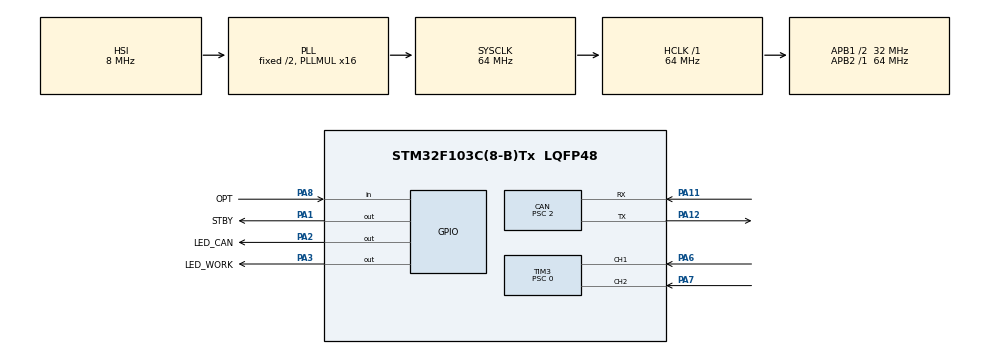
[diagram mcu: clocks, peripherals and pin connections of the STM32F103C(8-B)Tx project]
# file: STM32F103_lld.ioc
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CAN.BS1=CAN_BS1_11TQ
CAN.BS2=CAN_BS2_4TQ
CAN.CalculateBaudRate=1000000
CAN.CalculateTimeBit=1000
CAN.CalculateTimeQuantum=62.5
CAN.Prescaler=2
CAN.TXFP=ENABLE
FREERTOS.Tasks01=task_can_handle,40,256,start_task_can_handler,Default,NULL,Dynamic,NULL,NULL;task_dispatcher,24,256,start_task_dispatcher,Default,NULL,Dynamic,NULL,NULL;task_lld_contro,24,384,start_task_lld_controller,Default,NULL,Dynamic,NULL,NULL;task_watchdog,24,128,start_task_watchdog,Default,NULL,Dynamic,NULL,NULL
FREERTOS.configTOTAL_HEAP_SIZE=8192
IWDG.Prescaler=IWDG_PRESCALER_256
IWDG.Reload=624
Mcu.Family=STM32F1
Mcu.Name=STM32F103C(8-B)Tx
Mcu.Package=LQFP48
NVIC.CAN1_RX1_IRQn=true\:5\:0\:false\:false\:true\:true\:true\:true\:true
NVIC.CAN1_SCE_IRQn=true\:5\:0\:false\:false\:true\:true\:true\:true\:true
NVIC.PriorityGroup=NVIC_PRIORITYGROUP_4
NVIC.TIM3_IRQn=true\:5\:0\:false\:false\:true\:true\:true\:true\:true
NVIC.TIM4_IRQn=true\:15\:0\:false\:false\:true\:false\:false\:true\:true
NVIC.TimeBase=TIM4_IRQn
NVIC.TimeBaseIP=TIM4
NVIC.USB_HP_CAN1_TX_IRQn=true\:5\:0\:false\:false\:true\:true\:true\:true\:true
NVIC.USB_LP_CAN1_RX0_IRQn=true\:5\:0\:false\:false\:true\:true\:true\:true\:true
PA1.GPIO_Label=STBY
PA1.Signal=GPIO_Output
PA11.Mode=CAN_Activate
PA11.Signal=CAN_RX
PA12.Mode=CAN_Activate
PA12.Signal=CAN_TX
PA13.Mode=Serial_Wire
PA13.Signal=SYS_JTMS-SWDIO
PA14.Mode=Serial_Wire
PA14.Signal=SYS_JTCK-SWCLK
PA2.GPIO_Label=LED_CAN
PA2.Signal=GPIO_Output
PA3.GPIO_Label=LED_WORK
PA3.Signal=GPIO_Output
PA6.Signal=S_TIM3_CH1
PA7.Signal=S_TIM3_CH2
PA8.GPIO_Label=OPT
PA8.GPIO_PuPd=GPIO_PULLUP
PA8.Signal=GPIO_Input
ProjectManager.HeapSize=0x200
ProjectManager.StackSize=0x400
ProjectManager.TargetToolchain=STM32CubeIDE
RCC.AHBFreq_Value=64000000
RCC.APB1CLKDivider=RCC_HCLK_DIV2
RCC.APB1Freq_Value=32000000
RCC.APB1TimFreq_Value=64000000
RCC.APB2Freq_Value=64000000
RCC.APB2TimFreq_Value=64000000
RCC.HCLKFreq_Value=64000000
RCC.PLLMUL=RCC_PLL_MUL16
RCC.SYSCLKFreq_VALUE=64000000
RCC.SYSCLKSource=RCC_SYSCLKSOURCE_PLLCLK
RCC.USBFreq_Value=64000000
SH.S_TIM3_CH1.0=TIM3_CH1,Input_Capture1_from_TI1
SH.S_TIM3_CH2.0=TIM3_CH2,Input_Capture2_from_TI2
TIM3.AutoReloadPreload=TIM_AUTORELOAD_PRELOAD_ENABLE
TIM3.Channel-Input_Capture1_from_TI1=TIM_CHANNEL_1
TIM3.Channel-Input_Capture2_from_TI2=TIM_CHANNEL_2
TIM3.ICFilter_CH1=4
TIM3.ICFilter_CH2=4
TIM3.Prescaler=0
VP_FREERTOS_VS_CMSIS_V2.Mode=CMSIS_V2
VP_IWDG_VS_IWDG.Mode=IWDG_Activate
VP_SYS_VS_tim4.Mode=TIM4
board=custom

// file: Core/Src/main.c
/* USER CODE BEGIN Header */
/**
  ******************************************************************************
  * @file           : main.c
  * @brief          : Main program body
  ******************************************************************************
  * @attention
  *
  * Copyright (c) 2026 STMicroelectronics.
  * All rights reserved.
  *
  * This software is licensed under terms that can be found in the LICENSE file
  * in the root directory of this software component.
  * If no LICENSE file comes with this software, it is provided AS-IS.
  *
  ******************************************************************************
  */
/* USER CODE END Header */
#include "main.h"
#include "cmsis_os.h"

/* USER CODE BEGIN Includes */
#include "app_queues.h"
#include "app_config.h"
#include "task_can_handler.h"
#include "task_dispatcher.h"
#include "task_lld_controller.h"
#include "task_watchdog.h"
#include "app_flash.h"

/* USER CODE END Includes */

CAN_HandleTypeDef hcan;

IWDG_HandleTypeDef hiwdg;

TIM_HandleTypeDef htim3;

/* Definitions for task_can_handle */
osThreadId_t task_can_handleHandle;
const osThreadAttr_t task_can_handle_attributes = {
  .name = "task_can_handle",
  .stack_size = 256 * 4,
  .priority = (osPriority_t) osPriorityHigh,
};
/* Definitions for task_dispatcher */
osThreadId_t task_dispatcherHandle;
const osThreadAttr_t task_dispatcher_attributes = {
  .name = "task_dispatcher",
  .stack_size = 256 * 4,
  .priority = (osPriority_t) osPriorityNormal,
};
/* Definitions for task_lld_contro */
osThreadId_t task_lld_controHandle;
const osThreadAttr_t task_lld_contro_attributes = {
  .name = "task_lld_contro",
  .stack_size = 384 * 4,
  .priority = (osPriority_t) osPriorityNormal,
};
/* Definitions for task_watchdog */
osThreadId_t task_watchdogHandle;
const osThreadAttr_t task_watchdog_attributes = {
  .name = "task_watchdog",
  .stack_size = 128 * 4,
  .priority = (osPriority_t) osPriorityNormal,
};
/* USER CODE BEGIN PV */

osMessageQueueId_t can_rx_queueHandle;
osMessageQueueId_t can_tx_queueHandle;
osMessageQueueId_t dispatcher_queueHandle;
osMessageQueueId_t lld_queueHandle;

/* USER CODE END PV */

void SystemClock_Config(void);
static void MX_GPIO_Init(void);
static void MX_CAN_Init(void);
static void MX_IWDG_Init(void);
static void MX_TIM3_Init(void);
void start_task_can_handler(void *argument);
void start_task_dispatcher(void *argument);
void start_task_lld_controller(void *argument);
void start_task_watchdog(void *argument);

int main(void)
{

  /* MCU Configuration--------------------------------------------------------*/

  /* Reset of all peripherals, Initializes the Flash interface and the Systick. */
  HAL_Init();

  /* Configure the system clock */
  SystemClock_Config();

  /* Initialize all configured peripherals */
  MX_GPIO_Init();
  MX_CAN_Init();
  MX_IWDG_Init();
  MX_TIM3_Init();
  /* USER CODE BEGIN 2 */

  AppConfig_Init();

  /* USER CODE END 2 */

  /* Init scheduler */
  osKernelInitialize();

  /* USER CODE BEGIN RTOS_QUEUES */
  /* add queues, ... */

  can_rx_queueHandle = osMessageQueueNew(CAN_RX_QUEUE_LEN, sizeof(CanRxFrame_t), NULL);
  can_tx_queueHandle = osMessageQueueNew(CAN_TX_QUEUE_LEN, sizeof(CanTxFrame_t), NULL);
  dispatcher_queueHandle = osMessageQueueNew(DISPATCHER_QUEUE_LEN, sizeof(ParsedCanCommand_t), NULL);
  lld_queueHandle = osMessageQueueNew(LLD_QUEUE_LEN, sizeof(LldCommand_t), NULL);

  /* USER CODE END RTOS_QUEUES */

  /* Create the thread(s) */
  /* creation of task_can_handle */
  task_can_handleHandle = osThreadNew(start_task_can_handler, NULL, &task_can_handle_attributes);

  /* creation of task_dispatcher */
  task_dispatcherHandle = osThreadNew(start_task_dispatcher, NULL, &task_dispatcher_attributes);

  /* creation of task_lld_contro */
  task_lld_controHandle = osThreadNew(start_task_lld_controller, NULL, &task_lld_contro_attributes);

  /* creation of task_watchdog */
  task_watchdogHandle = osThreadNew(start_task_watchdog, NULL, &task_watchdog_attributes);

  /* Start scheduler */
  osKernelStart();

  /* We should never get here as control is now taken by the scheduler */

  /* Infinite loop */
  while (1)
  {

  }
}

void SystemClock_Config(void)
{
  RCC_OscInitTypeDef RCC_OscInitStruct = {0};
  RCC_ClkInitTypeDef RCC_ClkInitStruct = {0};

  /** Initializes the RCC Oscillators according to the specified parameters
  * in the RCC_OscInitTypeDef structure.
  */
  RCC_OscInitStruct.OscillatorType = RCC_OSCILLATORTYPE_HSI|RCC_OSCILLATORTYPE_LSI;
  RCC_OscInitStruct.HSIState = RCC_HSI_ON;
  RCC_OscInitStruct.HSICalibrationValue = RCC_HSICALIBRATION_DEFAULT;
  RCC_OscInitStruct.LSIState = RCC_LSI_ON;
  RCC_OscInitStruct.PLL.PLLState = RCC_PLL_ON;
  RCC_OscInitStruct.PLL.PLLSource = RCC_PLLSOURCE_HSI_DIV2;
  RCC_OscInitStruct.PLL.PLLMUL = RCC_PLL_MUL16;
  if (HAL_RCC_OscConfig(&RCC_OscInitStruct) != HAL_OK)
  {
    Error_Handler();
  }

  /** Initializes the CPU, AHB and APB buses clocks
  */
  RCC_ClkInitStruct.ClockType = RCC_CLOCKTYPE_HCLK|RCC_CLOCKTYPE_SYSCLK
                              |RCC_CLOCKTYPE_PCLK1|RCC_CLOCKTYPE_PCLK2;
  RCC_ClkInitStruct.SYSCLKSource = RCC_SYSCLKSOURCE_PLLCLK;
  RCC_ClkInitStruct.AHBCLKDivider = RCC_SYSCLK_DIV1;
  RCC_ClkInitStruct.APB1CLKDivider = RCC_HCLK_DIV2;
  RCC_ClkInitStruct.APB2CLKDivider = RCC_HCLK_DIV1;

  if (HAL_RCC_ClockConfig(&RCC_ClkInitStruct, FLASH_LATENCY_2) != HAL_OK)
  {
    Error_Handler();
  }
}

static void MX_CAN_Init(void)
{

  hcan.Instance = CAN1;
  hcan.Init.Prescaler = 2;
  hcan.Init.Mode = CAN_MODE_NORMAL;
  hcan.Init.SyncJumpWidth = CAN_SJW_1TQ;
  hcan.Init.TimeSeg1 = CAN_BS1_11TQ;
  hcan.Init.TimeSeg2 = CAN_BS2_4TQ;
  hcan.Init.TimeTriggeredMode = DISABLE;
  hcan.Init.AutoBusOff = DISABLE;
  hcan.Init.AutoWakeUp = DISABLE;
  hcan.Init.AutoRetransmission = DISABLE;
  hcan.Init.ReceiveFifoLocked = DISABLE;
  hcan.Init.TransmitFifoPriority = ENABLE;
  if (HAL_CAN_Init(&hcan) != HAL_OK)
  {
    Error_Handler();
  }

}

static void MX_IWDG_Init(void)
{

  hiwdg.Instance = IWDG;
  hiwdg.Init.Prescaler = IWDG_PRESCALER_256;
  hiwdg.Init.Reload = 624;
  if (HAL_IWDG_Init(&hiwdg) != HAL_OK)
  {
    Error_Handler();
  }

}

static void MX_TIM3_Init(void)
{

  TIM_MasterConfigTypeDef sMasterConfig = {0};
  TIM_IC_InitTypeDef sConfigIC = {0};

  htim3.Instance = TIM3;
  htim3.Init.Prescaler = 0;
  htim3.Init.CounterMode = TIM_COUNTERMODE_UP;
  htim3.Init.Period = 65535;
  htim3.Init.ClockDivision = TIM_CLOCKDIVISION_DIV1;
  htim3.Init.AutoReloadPreload = TIM_AUTORELOAD_PRELOAD_ENABLE;
  if (HAL_TIM_IC_Init(&htim3) != HAL_OK)
  {
    Error_Handler();
  }
  sMasterConfig.MasterOutputTrigger = TIM_TRGO_RESET;
  sMasterConfig.MasterSlaveMode = TIM_MASTERSLAVEMODE_DISABLE;
  if (HAL_TIMEx_MasterConfigSynchronization(&htim3, &sMasterConfig) != HAL_OK)
  {
    Error_Handler();
  }
  sConfigIC.ICPolarity = TIM_INPUTCHANNELPOLARITY_RISING;
  sConfigIC.ICSelection = TIM_ICSELECTION_DIRECTTI;
  sConfigIC.ICPrescaler = TIM_ICPSC_DIV1;
  sConfigIC.ICFilter = 4;
  if (HAL_TIM_IC_ConfigChannel(&htim3, &sConfigIC, TIM_CHANNEL_1) != HAL_OK)
  {
    Error_Handler();
  }
  if (HAL_TIM_IC_ConfigChannel(&htim3, &sConfigIC, TIM_CHANNEL_2) != HAL_OK)
  {
    Error_Handler();
  }

}

static void MX_GPIO_Init(void)
{
  GPIO_InitTypeDef GPIO_InitStruct = {0};

  /* GPIO Ports Clock Enable */
  __HAL_RCC_GPIOA_CLK_ENABLE();

  /*Configure GPIO pin Output Level */
  HAL_GPIO_WritePin(GPIOA, STBY_Pin|LED_CAN_Pin|LED_WORK_Pin, GPIO_PIN_RESET);

  /*Configure GPIO pins : STBY_Pin LED_CAN_Pin LED_WORK_Pin */
  GPIO_InitStruct.Pin = STBY_Pin|LED_CAN_Pin|LED_WORK_Pin;
  GPIO_InitStruct.Mode = GPIO_MODE_OUTPUT_PP;
  GPIO_InitStruct.Pull = GPIO_NOPULL;
  GPIO_InitStruct.Speed = GPIO_SPEED_FREQ_LOW;
  HAL_GPIO_Init(GPIOA, &GPIO_InitStruct);

  /*Configure GPIO pin : OPT_Pin */
  GPIO_InitStruct.Pin = OPT_Pin;
  GPIO_InitStruct.Mode = GPIO_MODE_INPUT;
  GPIO_InitStruct.Pull = GPIO_PULLUP;
  HAL_GPIO_Init(OPT_GPIO_Port, &GPIO_InitStruct);

}

void start_task_can_handler(void *argument)
{
  /* USER CODE BEGIN 5 */

	app_start_task_can_handler(argument);

  /* Infinite loop */
  for(;;)
  {
    osDelay(1);
  }
  /* USER CODE END 5 */
}

void start_task_dispatcher(void *argument)
{
  /* USER CODE BEGIN start_task_dispatcher */

	app_start_task_dispatcher(argument);

  /* Infinite loop */
  for(;;)
  {
    osDelay(1);
  }
  /* USER CODE END start_task_dispatcher */
}

void start_task_lld_controller(void *argument)
{
  /* USER CODE BEGIN start_task_lld_controller */

	app_start_task_lld_controller(argument);

  /* Infinite loop */
  for(;;)
  {
    osDelay(1);
  }
  /* USER CODE END start_task_lld_controller */
}

void start_task_watchdog(void *argument)
{
  /* USER CODE BEGIN start_task_watchdog */

	app_start_task_watchdog(argument);

  /* Infinite loop */
  for(;;)
  {
    osDelay(1);
  }
  /* USER CODE END start_task_watchdog */
}

void HAL_TIM_PeriodElapsedCallback(TIM_HandleTypeDef *htim)
{
  if (htim->Instance == TIM4)
  {
    HAL_IncTick();
  }
}

void Error_Handler(void)
{
  __disable_irq();
  while (1)
  {
  }
}
